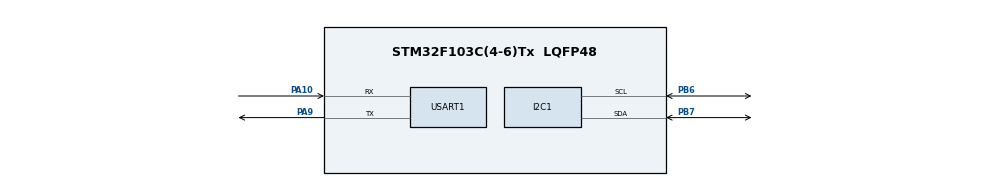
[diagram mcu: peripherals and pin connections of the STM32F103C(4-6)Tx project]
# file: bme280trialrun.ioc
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Mcu.Family=STM32F1
Mcu.Name=STM32F103C(4-6)Tx
Mcu.Package=LQFP48
NVIC.PriorityGroup=NVIC_PRIORITYGROUP_4
PA10.Mode=Asynchronous
PA10.Signal=USART1_RX
PA13.Mode=Serial_Wire
PA13.Signal=SYS_JTMS-SWDIO
PA14.Mode=Serial_Wire
PA14.Signal=SYS_JTCK-SWCLK
PA9.Mode=Asynchronous
PA9.Signal=USART1_TX
PB6.Mode=I2C
PB6.Signal=I2C1_SCL
PB7.Mode=I2C
PB7.Signal=I2C1_SDA
PD0-OSC_IN.Mode=HSE-External-Oscillator
PD0-OSC_IN.Signal=RCC_OSC_IN
PD1-OSC_OUT.Mode=HSE-External-Oscillator
PD1-OSC_OUT.Signal=RCC_OSC_OUT
ProjectManager.HeapSize=0x200
ProjectManager.StackSize=0x400
ProjectManager.TargetToolchain=MDK-ARM V5.32
RCC.APB1Freq_Value=8000000
RCC.APB2Freq_Value=8000000
USART1.VirtualMode=VM_ASYNC
board=custom

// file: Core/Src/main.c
/* USER CODE BEGIN Header */
/**
  ******************************************************************************
  * @file           : main.c
  * @brief          : BMP280 Temperature and Pressure using STM32
  ******************************************************************************
  */
/* USER CODE END Header */
#include "main.h"

I2C_HandleTypeDef hi2c1;

UART_HandleTypeDef huart1;

/* USER CODE BEGIN PV */

struct bme280_dev dev;
struct bme280_data comp_data;
struct bme280_uncomp_data uncomp_data;

int8_t rslt = BME280_OK;

uint8_t sensor_addr = 0x76;

double temperature;
double pressure;

uint8_t calibration[24];

char msg[150];

#define WIFI_SSID "SNUC"
#define WIFI_PASSWORD "snu12345"
#define NODE_RED_IP "10.31.30.248"

char json[150];
char http_request[350];
char esp_cmd[100];

/* USER CODE END PV */

void SystemClock_Config(void);
static void MX_GPIO_Init(void);
static void MX_I2C1_Init(void);
static void MX_USART1_UART_Init(void);
/* USER CODE BEGIN PFP */

HAL_StatusTypeDef BMP280_Read(uint8_t reg, uint8_t *data, uint16_t len);
HAL_StatusTypeDef BMP280_Write(uint8_t reg, uint8_t data);
int8_t BMP280_Read_Calibration(void);
int8_t BMP280_Init(void);
int8_t BMP280_Read_Data(void);

uint16_t read_u16_le(uint8_t *data);
int16_t read_s16_le(uint8_t *data);
void ESP_SendCommand(char *command, uint32_t delay);
void ESP_Init(void);
void ESP_SendReadings(double temp, double press);

/* USER CODE END PFP */

/* USER CODE BEGIN 0 */

/*
 * Read BMP280 registers using I2C
 */

HAL_StatusTypeDef BMP280_Read(uint8_t reg, uint8_t *data, uint16_t len)
{
    return HAL_I2C_Mem_Read(&hi2c1, (uint16_t)(sensor_addr << 1), reg, I2C_MEMADD_SIZE_8BIT, data, len, 100);
}

/*
 * Write BMP280 registers using I2C
 */

HAL_StatusTypeDef BMP280_Write(uint8_t reg, uint8_t data)
{
    return HAL_I2C_Mem_Write(&hi2c1, (uint16_t)(sensor_addr << 1), reg, I2C_MEMADD_SIZE_8BIT, &data, 1, 100);
}

/*
 * Convert two bytes into unsigned 16-bit value
 */

uint16_t read_u16_le(uint8_t *data)
{
    return (uint16_t)((data[1] << 8) | data[0]);
}

/*
 * Convert two bytes into signed 16-bit value
 */

int16_t read_s16_le(uint8_t *data)
{
    return (int16_t)read_u16_le(data);
}

/*
 * Read BMP280 calibration coefficients
 *
 * BMP280 has 24 bytes of temperature and pressure calibration data.
 * Unlike BME280, it has no humidity calibration registers.
 */

int8_t BMP280_Read_Calibration(void)
{
    if (BMP280_Read(0x88, calibration, 24) != HAL_OK)
    {
        return BME280_E_COMM_FAIL;
    }

    dev.calib_data.dig_t1 = read_u16_le(&calibration[0]);
    dev.calib_data.dig_t2 = read_s16_le(&calibration[2]);
    dev.calib_data.dig_t3 = read_s16_le(&calibration[4]);

    dev.calib_data.dig_p1 = read_u16_le(&calibration[6]);
    dev.calib_data.dig_p2 = read_s16_le(&calibration[8]);
    dev.calib_data.dig_p3 = read_s16_le(&calibration[10]);
    dev.calib_data.dig_p4 = read_s16_le(&calibration[12]);
    dev.calib_data.dig_p5 = read_s16_le(&calibration[14]);
    dev.calib_data.dig_p6 = read_s16_le(&calibration[16]);
    dev.calib_data.dig_p7 = read_s16_le(&calibration[18]);
    dev.calib_data.dig_p8 = read_s16_le(&calibration[20]);
    dev.calib_data.dig_p9 = read_s16_le(&calibration[22]);

    return BME280_OK;
}

/*
 * Initialize BMP280
 */

int8_t BMP280_Init(void)
{
    uint8_t chip_id = 0;

    /*
     * Read chip ID
     */

    if (BMP280_Read(0xD0, &chip_id, 1) != HAL_OK)
    {
        return BME280_E_COMM_FAIL;
    }

    if (chip_id != 0x58)
    {
        return BME280_E_DEV_NOT_FOUND;
    }

    sprintf(msg, "BMP280 DETECTED! CHIP ID: 0x%02X\r\n", chip_id);
    HAL_UART_Transmit(&huart1, (uint8_t*)msg, strlen(msg), HAL_MAX_DELAY);

    /*
     * Soft reset
     */

    if (BMP280_Write(0xE0, 0xB6) != HAL_OK)
    {
        return BME280_E_COMM_FAIL;
    }

    HAL_Delay(10);

    /*
     * Read temperature and pressure calibration
     */

    rslt = BMP280_Read_Calibration();

    if (rslt != BME280_OK)
    {
        return rslt;
    }

    /*
     * Configure filter
     *
     * 0xF5 = CONFIG register
     */

    if (BMP280_Write(0xF5, 0x00) != HAL_OK)
    {
        return BME280_E_COMM_FAIL;
    }

    /*
     * Configure temperature and pressure oversampling
     *
     * osrs_t = 001 -> 1X
     * osrs_p = 001 -> 1X
     * mode   = 011 -> Normal mode
     *
     * Binary: 00100111
     * Hex:    0x27
     */

    if (BMP280_Write(0xF4, 0x27) != HAL_OK)
    {
        return BME280_E_COMM_FAIL;
    }

    HAL_Delay(100);

    sprintf(msg, "BMP280 INITIALIZATION SUCCESSFUL!\r\n");
    HAL_UART_Transmit(&huart1, (uint8_t*)msg, strlen(msg), HAL_MAX_DELAY);

    return BME280_OK;
}

/*
 * Read raw temperature and pressure
 * Compensate using Bosch BME280 driver algorithms
 */

int8_t BMP280_Read_Data(void)
{
    uint8_t raw_data[6];

    if (BMP280_Read(0xF7, raw_data, 6) != HAL_OK)
    {
        return BME280_E_COMM_FAIL;
    }

    /*
     * Extract raw pressure
     */

    uncomp_data.pressure = ((uint32_t)raw_data[0] << 12) | ((uint32_t)raw_data[1] << 4) | ((uint32_t)raw_data[2] >> 4);

    /*
     * Extract raw temperature
     */

    uncomp_data.temperature = ((uint32_t)raw_data[3] << 12) | ((uint32_t)raw_data[4] << 4) | ((uint32_t)raw_data[5] >> 4);

    /*
     * Humidity is not supported by BMP280.
     */

    uncomp_data.humidity = 0;

    /*
     * Use Bosch compensation algorithm.
     *
     * Only pressure and temperature are selected.
     */

    rslt = bme280_compensate_data(BME280_PRESS | BME280_TEMP, &uncomp_data, &comp_data, &dev.calib_data);

    if (rslt != BME280_OK)
    {
        return rslt;
    }

    temperature = comp_data.temperature;
    pressure = comp_data.pressure;

    return BME280_OK;
}

/*
 * Send AT commands to ESP8266 through USART1
 */

void ESP_SendCommand(char *command, uint32_t delay)
{
    HAL_UART_Transmit(&huart1, (uint8_t*)command, strlen(command), HAL_MAX_DELAY);
    HAL_Delay(delay);
}

/*
 * Initialize ESP8266 and connect to Wi-Fi
 */

void ESP_Init(void)
{
    ESP_SendCommand("AT\r\n", 1000);

    ESP_SendCommand("AT+CWMODE=1\r\n", 1000);

    snprintf(esp_cmd, sizeof(esp_cmd), "AT+CWJAP=\"%s\",\"%s\"\r\n", WIFI_SSID, WIFI_PASSWORD);

    ESP_SendCommand(esp_cmd, 8000);
}

/*
 * Construct JSON and send HTTP POST request to Node-RED
 */

void ESP_SendReadings(double temp, double press)
{
    int content_length;
    int request_length;

    /*
     * Construct dynamic JSON payload
     */

    snprintf(json, sizeof(json), "{\"status\":\"success\",\"temperature\":%.2f,\"pressure\":%.2f}", temp, press);

    /*
     * Calculate actual JSON length
     */

    content_length = strlen(json);

    /*
     * Establish TCP connection with Node-RED
     */

    snprintf(esp_cmd, sizeof(esp_cmd), "AT+CIPSTART=\"TCP\",\"%s\",1880\r\n", NODE_RED_IP);

    ESP_SendCommand(esp_cmd, 3000);

    /*
     * Construct HTTP POST request
     */

    snprintf(http_request, sizeof(http_request), "POST /bmp280 HTTP/1.1\r\nHost: %s:1880\r\nContent-Type: application/json\r\nContent-Length: %d\r\nConnection: close\r\n\r\n%s", NODE_RED_IP, content_length, json);

    /*
     * Calculate complete HTTP request length
     */

    request_length = strlen(http_request);

    /*
     * Tell ESP8266 how many bytes to transmit
     */

    snprintf(esp_cmd, sizeof(esp_cmd), "AT+CIPSEND=%d\r\n", request_length);

    ESP_SendCommand(esp_cmd, 1000);

    /*
     * Transmit complete HTTP request
     */

    HAL_UART_Transmit(&huart1, (uint8_t*)http_request, request_length, HAL_MAX_DELAY);

    HAL_Delay(200);

    /*
     * Close TCP connection
     */

    ESP_SendCommand("AT+CIPCLOSE\r\n", 500);
}

/* USER CODE END 0 */

int main(void)
{

  /* MCU Configuration--------------------------------------------------------*/

  /* Reset of all peripherals, Initializes the Flash interface and the Systick. */
  HAL_Init();

  /* Configure the system clock */
  SystemClock_Config();

  /* Initialize all configured peripherals */
  MX_GPIO_Init();
  MX_I2C1_Init();
  MX_USART1_UART_Init();
  /* USER CODE BEGIN 2 */

    uint8_t addresses[] = {0x76, 0x77};
    uint8_t chip_id = 0;
    uint8_t found = 0;

    /*
     * Scan both possible I2C addresses.
     */

    for (int i = 0; i < 2; i++)
    {
        sensor_addr = addresses[i];

        if (HAL_I2C_IsDeviceReady(&hi2c1, (uint16_t)(sensor_addr << 1), 3, 100) == HAL_OK)
        {
            if (BMP280_Read(0xD0, &chip_id, 1) == HAL_OK && chip_id == 0x58)
            {
                found = 1;
                break;
            }
        }
    }

    if (!found)
    {
        sprintf(msg, "BMP280 NOT FOUND!\r\n");
        HAL_UART_Transmit(&huart1, (uint8_t*)msg, strlen(msg), HAL_MAX_DELAY);

        while (1);
    }

    sprintf(msg, "I2C ADDRESS: 0x%02X\r\n", sensor_addr);
    HAL_UART_Transmit(&huart1, (uint8_t*)msg, strlen(msg), HAL_MAX_DELAY);

    /*
     * Initialize BMP280.
     */

    rslt = BMP280_Init();
    ESP_Init();

    if (rslt != BME280_OK)
    {
        sprintf(msg, "BMP280 INITIALIZATION FAILED! ERROR: %d\r\n", rslt);
        HAL_UART_Transmit(&huart1, (uint8_t*)msg, strlen(msg), HAL_MAX_DELAY);

        while (1);
    }

  /* USER CODE END 2 */

  /* Infinite loop */
  while (1)
  {

    /* USER CODE BEGIN 3 */

    	    HAL_Delay(100);

    	    rslt = BMP280_Read_Data();

    	    if (rslt == BME280_OK)
    	    {
    	        double pressure_hpa = pressure / 100.0;

    	        sprintf(msg, "Temperature: %.2f C | Pressure: %.2f hPa\r\n", temperature, pressure_hpa);

    	        HAL_UART_Transmit(&huart1, (uint8_t*)msg, strlen(msg), HAL_MAX_DELAY);

    	        ESP_SendReadings(temperature, pressure_hpa);
    	    }
    	    else
    	    {
    	        sprintf(msg, "BMP280 DATA READ FAILED! ERROR: %d\r\n", rslt);

    	        HAL_UART_Transmit(&huart1, (uint8_t*)msg, strlen(msg), HAL_MAX_DELAY);
    	    }

  /* USER CODE END 3 */
}

void SystemClock_Config(void)
{
  RCC_OscInitTypeDef RCC_OscInitStruct = {0};
  RCC_ClkInitTypeDef RCC_ClkInitStruct = {0};

  /** Initializes the RCC Oscillators according to the specified parameters
  * in the RCC_OscInitTypeDef structure.
  */
  RCC_OscInitStruct.OscillatorType = RCC_OSCILLATORTYPE_HSI;
  RCC_OscInitStruct.HSIState = RCC_HSI_ON;
  RCC_OscInitStruct.HSICalibrationValue = RCC_HSICALIBRATION_DEFAULT;
  RCC_OscInitStruct.PLL.PLLState = RCC_PLL_NONE;
  if (HAL_RCC_OscConfig(&RCC_OscInitStruct) != HAL_OK)
  {
    Error_Handler();
  }

  /** Initializes the CPU, AHB and APB buses clocks
  */
  RCC_ClkInitStruct.ClockType = RCC_CLOCKTYPE_HCLK|RCC_CLOCKTYPE_SYSCLK
                              |RCC_CLOCKTYPE_PCLK1|RCC_CLOCKTYPE_PCLK2;
  RCC_ClkInitStruct.SYSCLKSource = RCC_SYSCLKSOURCE_HSI;
  RCC_ClkInitStruct.AHBCLKDivider = RCC_SYSCLK_DIV1;
  RCC_ClkInitStruct.APB1CLKDivider = RCC_HCLK_DIV1;
  RCC_ClkInitStruct.APB2CLKDivider = RCC_HCLK_DIV1;

  if (HAL_RCC_ClockConfig(&RCC_ClkInitStruct, FLASH_LATENCY_0) != HAL_OK)
  {
    Error_Handler();
  }
}

static void MX_I2C1_Init(void)
{

  hi2c1.Instance = I2C1;
  hi2c1.Init.ClockSpeed = 100000;
  hi2c1.Init.DutyCycle = I2C_DUTYCYCLE_2;
  hi2c1.Init.OwnAddress1 = 0;
  hi2c1.Init.AddressingMode = I2C_ADDRESSINGMODE_7BIT;
  hi2c1.Init.DualAddressMode = I2C_DUALADDRESS_DISABLE;
  hi2c1.Init.OwnAddress2 = 0;
  hi2c1.Init.GeneralCallMode = I2C_GENERALCALL_DISABLE;
  hi2c1.Init.NoStretchMode = I2C_NOSTRETCH_DISABLE;
  if (HAL_I2C_Init(&hi2c1) != HAL_OK)
  {
    Error_Handler();
  }

}

static void MX_USART1_UART_Init(void)
{

  huart1.Instance = USART1;
  huart1.Init.BaudRate = 115200;
  huart1.Init.WordLength = UART_WORDLENGTH_8B;
  huart1.Init.StopBits = UART_STOPBITS_1;
  huart1.Init.Parity = UART_PARITY_NONE;
  huart1.Init.Mode = UART_MODE_TX_RX;
  huart1.Init.HwFlowCtl = UART_HWCONTROL_NONE;
  huart1.Init.OverSampling = UART_OVERSAMPLING_16;
  if (HAL_UART_Init(&huart1) != HAL_OK)
  {
    Error_Handler();
  }

}

static void MX_GPIO_Init(void)
{

  /* GPIO Ports Clock Enable */
  __HAL_RCC_GPIOD_CLK_ENABLE();
  __HAL_RCC_GPIOA_CLK_ENABLE();
  __HAL_RCC_GPIOB_CLK_ENABLE();

}

void Error_Handler(void)
{
  __disable_irq();
  while (1)
  {
  }
}
